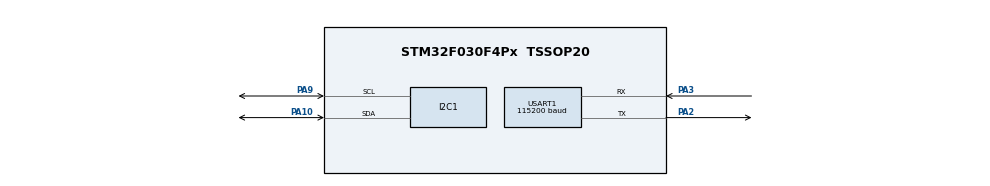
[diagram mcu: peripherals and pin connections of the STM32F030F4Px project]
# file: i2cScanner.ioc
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I2C1.Analog_Filter=I2C_ANALOGFILTER_DISABLE
I2C1.Timing=0x00101D2D
Mcu.Family=STM32F0
Mcu.Name=STM32F030F4Px
Mcu.Package=TSSOP20
PA10.Mode=I2C
PA10.Signal=I2C1_SDA
PA2.Mode=Asynchronous
PA2.Signal=USART1_TX
PA3.Mode=Asynchronous
PA3.Signal=USART1_RX
PA9.Mode=I2C
PA9.Signal=I2C1_SCL
ProjectManager.HeapSize=0x200
ProjectManager.StackSize=0x400
ProjectManager.TargetToolchain=TrueSTUDIO
USART1.BaudRate=115200
USART1.VirtualMode-Asynchronous=VM_ASYNC
board=i2cScanner

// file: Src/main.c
/**
  ******************************************************************************
  * @file           : main.c
  * @brief          : Main program body
  ******************************************************************************
  ** This notice applies to any and all portions of this file
  * that are not between comment pairs USER CODE BEGIN and
  * USER CODE END. Other portions of this file, whether
  * inserted by the user or by software development tools
  * are owned by their respective copyright owners.
  *
  * COPYRIGHT(c) 2018 STMicroelectronics
  *
  * Redistribution and use in source and binary forms, with or without modification,
  * are permitted provided that the following conditions are met:
  *   1. Redistributions of source code must retain the above copyright notice,
  *      this list of conditions and the following disclaimer.
  *   2. Redistributions in binary form must reproduce the above copyright notice,
  *      this list of conditions and the following disclaimer in the documentation
  *      and/or other materials provided with the distribution.
  *   3. Neither the name of STMicroelectronics nor the names of its contributors
  *      may be used to endorse or promote products derived from this software
  *      without specific prior written permission.
  *
  * THIS SOFTWARE IS PROVIDED BY THE COPYRIGHT HOLDERS AND CONTRIBUTORS "AS IS"
  * AND ANY EXPRESS OR IMPLIED WARRANTIES, INCLUDING, BUT NOT LIMITED TO, THE
  * IMPLIED WARRANTIES OF MERCHANTABILITY AND FITNESS FOR A PARTICULAR PURPOSE ARE
  * DISCLAIMED. IN NO EVENT SHALL THE COPYRIGHT HOLDER OR CONTRIBUTORS BE LIABLE
  * FOR ANY DIRECT, INDIRECT, INCIDENTAL, SPECIAL, EXEMPLARY, OR CONSEQUENTIAL
  * DAMAGES (INCLUDING, BUT NOT LIMITED TO, PROCUREMENT OF SUBSTITUTE GOODS OR
  * SERVICES; LOSS OF USE, DATA, OR PROFITS; OR BUSINESS INTERRUPTION) HOWEVER
  * CAUSED AND ON ANY THEORY OF LIABILITY, WHETHER IN CONTRACT, STRICT LIABILITY,
  * OR TORT (INCLUDING NEGLIGENCE OR OTHERWISE) ARISING IN ANY WAY OUT OF THE USE
  * OF THIS SOFTWARE, EVEN IF ADVISED OF THE POSSIBILITY OF SUCH DAMAGE.
  *
  ******************************************************************************
  */
#include "main.h"
#include "stm32f0xx_hal.h"

I2C_HandleTypeDef hi2c1;

UART_HandleTypeDef huart1;

/* USER CODE BEGIN PV */
/* Private variables ---------------------------------------------------------*/

/* USER CODE END PV */

void SystemClock_Config(void);
static void MX_GPIO_Init(void);
static void MX_I2C1_Init(void);
static void MX_USART1_UART_Init(void);

/* USER CODE BEGIN PFP */
/* Private function prototypes -----------------------------------------------*/

/* USER CODE END PFP */

int main(void)
{

  /* MCU Configuration----------------------------------------------------------*/

  /* Reset of all peripherals, Initializes the Flash interface and the Systick. */
  HAL_Init();

  /* Configure the system clock */
  SystemClock_Config();

  /* Initialize all configured peripherals */
  MX_GPIO_Init();
  MX_I2C1_Init();
  MX_USART1_UART_Init();
  /* USER CODE BEGIN 2 */

  char uart1Data[25] = "Connected to UART1\r\n";
   /*
    * Output to uart1
    * use screen or putty or whatever terminal software
    * 8N1 115200
    */
  HAL_UART_Transmit(&huart1, (uint8_t *)&uart1Data,sizeof(uart1Data), 0xFFFF);

  char uart1DataA[25] = "Scanning I2C bus:\r\n";
  HAL_UART_Transmit(&huart1, (uint8_t *)&uart1DataA,sizeof(uart1DataA), 0xFFFF);

  HAL_StatusTypeDef result;
  uint8_t i;
  for (i=1; i<128; i++)
  {
	  /*
 	   * the HAL wants a left aligned i2c address
 	   * &hi2c1 is the handle
 	   * (uint16_t)(i<<1) is the i2c address left aligned
 	   * retries 2
 	   * timeout 2
 	   */
	  result = HAL_I2C_IsDeviceReady(&hi2c1, (uint16_t)(i<<1), 2, 2);
 	  if (result != HAL_OK) // HAL_ERROR or HAL_BUSY or HAL_TIMEOUT
 	  {
 		  // No ACK received at that address
 		  char uart1DataB[1] = ".";
 		  HAL_UART_Transmit(&huart1, (uint8_t *)&uart1DataB,sizeof(uart1DataB), 0xFFFF);

 	  }
 	  if (result == HAL_OK)
 	  {
 		  char uart1DataD[4];
 		  sprintf(uart1DataD, "0x%X", i); // Received an ACK at that address
 		  HAL_UART_Transmit(&huart1, (uint8_t *)&uart1DataD,sizeof(uart1DataD), 0xFFFF);

 	  }
 	}

  /* USER CODE END 2 */

  /* Infinite loop */
  while (1)
  {

  }

}

void SystemClock_Config(void)
{

  RCC_OscInitTypeDef RCC_OscInitStruct;
  RCC_ClkInitTypeDef RCC_ClkInitStruct;
  RCC_PeriphCLKInitTypeDef PeriphClkInit;

    /**Initializes the CPU, AHB and APB busses clocks
    */
  RCC_OscInitStruct.OscillatorType = RCC_OSCILLATORTYPE_HSI;
  RCC_OscInitStruct.HSIState = RCC_HSI_ON;
  RCC_OscInitStruct.HSICalibrationValue = 16;
  RCC_OscInitStruct.PLL.PLLState = RCC_PLL_NONE;
  if (HAL_RCC_OscConfig(&RCC_OscInitStruct) != HAL_OK)
  {
    _Error_Handler(__FILE__, __LINE__);
  }

    /**Initializes the CPU, AHB and APB busses clocks
    */
  RCC_ClkInitStruct.ClockType = RCC_CLOCKTYPE_HCLK|RCC_CLOCKTYPE_SYSCLK
                              |RCC_CLOCKTYPE_PCLK1;
  RCC_ClkInitStruct.SYSCLKSource = RCC_SYSCLKSOURCE_HSI;
  RCC_ClkInitStruct.AHBCLKDivider = RCC_SYSCLK_DIV1;
  RCC_ClkInitStruct.APB1CLKDivider = RCC_HCLK_DIV1;

  if (HAL_RCC_ClockConfig(&RCC_ClkInitStruct, FLASH_LATENCY_0) != HAL_OK)
  {
    _Error_Handler(__FILE__, __LINE__);
  }

  PeriphClkInit.PeriphClockSelection = RCC_PERIPHCLK_USART1|RCC_PERIPHCLK_I2C1;
  PeriphClkInit.Usart1ClockSelection = RCC_USART1CLKSOURCE_PCLK1;
  PeriphClkInit.I2c1ClockSelection = RCC_I2C1CLKSOURCE_HSI;
  if (HAL_RCCEx_PeriphCLKConfig(&PeriphClkInit) != HAL_OK)
  {
    _Error_Handler(__FILE__, __LINE__);
  }

    /**Configure the Systick interrupt time
    */
  HAL_SYSTICK_Config(HAL_RCC_GetHCLKFreq()/1000);

    /**Configure the Systick
    */
  HAL_SYSTICK_CLKSourceConfig(SYSTICK_CLKSOURCE_HCLK);

  /* SysTick_IRQn interrupt configuration */
  HAL_NVIC_SetPriority(SysTick_IRQn, 0, 0);
}

/* I2C1 init function */
static void MX_I2C1_Init(void)
{

  hi2c1.Instance = I2C1;
  hi2c1.Init.Timing = 0x00101D2D;
  hi2c1.Init.OwnAddress1 = 0;
  hi2c1.Init.AddressingMode = I2C_ADDRESSINGMODE_7BIT;
  hi2c1.Init.DualAddressMode = I2C_DUALADDRESS_DISABLE;
  hi2c1.Init.OwnAddress2 = 0;
  hi2c1.Init.OwnAddress2Masks = I2C_OA2_NOMASK;
  hi2c1.Init.GeneralCallMode = I2C_GENERALCALL_DISABLE;
  hi2c1.Init.NoStretchMode = I2C_NOSTRETCH_DISABLE;
  if (HAL_I2C_Init(&hi2c1) != HAL_OK)
  {
    _Error_Handler(__FILE__, __LINE__);
  }

    /**Configure Analogue filter
    */
  if (HAL_I2CEx_ConfigAnalogFilter(&hi2c1, I2C_ANALOGFILTER_DISABLE) != HAL_OK)
  {
    _Error_Handler(__FILE__, __LINE__);
  }

    /**Configure Digital filter
    */
  if (HAL_I2CEx_ConfigDigitalFilter(&hi2c1, 0) != HAL_OK)
  {
    _Error_Handler(__FILE__, __LINE__);
  }

}

/* USART1 init function */
static void MX_USART1_UART_Init(void)
{

  huart1.Instance = USART1;
  huart1.Init.BaudRate = 115200;
  huart1.Init.WordLength = UART_WORDLENGTH_8B;
  huart1.Init.StopBits = UART_STOPBITS_1;
  huart1.Init.Parity = UART_PARITY_NONE;
  huart1.Init.Mode = UART_MODE_TX_RX;
  huart1.Init.HwFlowCtl = UART_HWCONTROL_NONE;
  huart1.Init.OverSampling = UART_OVERSAMPLING_16;
  huart1.Init.OneBitSampling = UART_ONE_BIT_SAMPLE_DISABLE;
  huart1.AdvancedInit.AdvFeatureInit = UART_ADVFEATURE_NO_INIT;
  if (HAL_UART_Init(&huart1) != HAL_OK)
  {
    _Error_Handler(__FILE__, __LINE__);
  }

}

/** Pinout Configuration
*/
static void MX_GPIO_Init(void)
{

  /* GPIO Ports Clock Enable */
  __HAL_RCC_GPIOA_CLK_ENABLE();

}

void _Error_Handler(char *file, int line)
{
  while(1)
  {
  }
}

/************************ (C) COPYRIGHT STMicroelectronics *****END OF FILE****/
